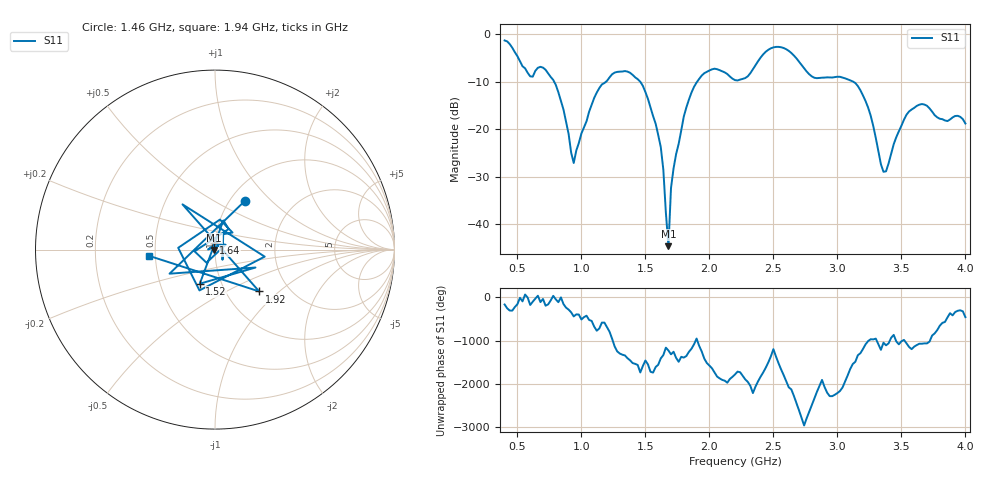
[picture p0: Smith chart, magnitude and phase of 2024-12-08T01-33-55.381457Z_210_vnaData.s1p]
!Created with skrf (http://scikit-rf.org).
# Hz S RI R 50.0
!freq ReS11 ImS11
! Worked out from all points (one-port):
!   181 points, 400 MHz to 4 GHz, reference 50 ohm
!   lowest |S11| = -44.6 dB at 1.68 GHz (marker M1), VSWR 1.01, Z = 49.5 - j0.274 ohm
!   |S11| at or under -10 dB: 787.3 MHz to 1.192 GHz (404.3 MHz wide, 40.9 % of centre); 1.46 GHz to 1.904 GHz (444.1 MHz wide, 26.4 % of centre); 3.124 GHz to end of sweep
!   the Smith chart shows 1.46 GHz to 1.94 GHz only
!   S11 on the Smith chart (normalised r, x): 1.46 GHz: 1.17, +0.70; 1.52 GHz: 0.79, -0.31; 1.64 GHz: 0.98, +0.07; 1.92 GHz: 1.42, -0.75; 1.94 GHz: 0.46, -0.04
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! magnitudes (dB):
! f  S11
! 400 MHz  -1.3
! 600 MHz  -8.9
! 720 MHz  -7.5
! 860 MHz  -15.9
! 940 MHz  -27.1
! 1.12 GHz  -12.3
! 1.3 GHz  -7.9
! 1.46 GHz  -10.0
! 1.52 GHz  -13.6
! 1.6 GHz  -21.2
! 1.64 GHz  -28.5
! 1.68 GHz  -44.6
! 1.7 GHz  -32.4
! 1.76 GHz  -23.1
! 1.82 GHz  -15.4
! 1.92 GHz  -9.4
! 1.94 GHz  -8.7
! 2.04 GHz  -7.2
! 2.2 GHz  -9.7
! 2.48 GHz  -3.0
! 2.66 GHz  -4.5
! 2.82 GHz  -9.2
! 3.1 GHz  -9.7
! 3.24 GHz  -15.4
! 3.36 GHz  -29.0
! 3.56 GHz  -16.3
! 3.68 GHz  -14.8
! 4 GHz  -18.8
